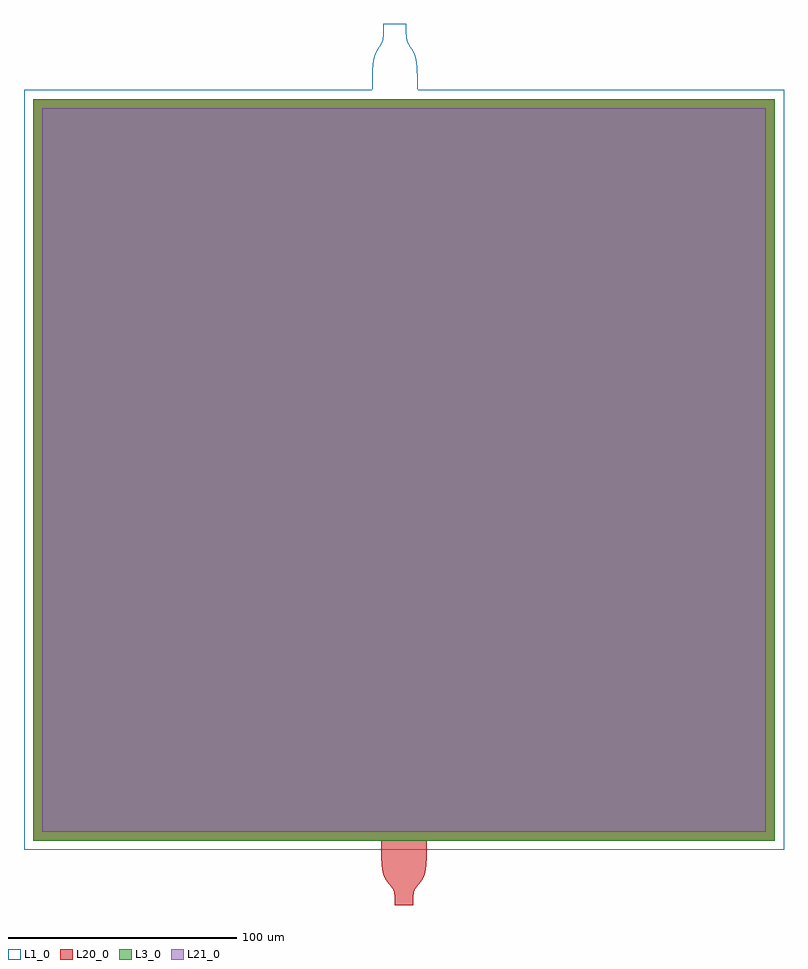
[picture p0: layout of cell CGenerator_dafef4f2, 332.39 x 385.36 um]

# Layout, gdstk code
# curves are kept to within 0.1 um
from math import pi, radians
import gdstk
lib = gdstk.Library(unit=1e-6, precision=1e-09)
def R(c, l, rs):  # rectangles x0, y0, x1, y1
    for r in rs: c.add(gdstk.rectangle(r[:2], r[2:], *l))
def P(c, l, *ps):  # polygons
    for p in ps: c.add(gdstk.Polygon(p, *l))
L1_0 = (1, 0)
L3_0 = (3, 0)
L20_0 = (20, 0)
L21_0 = (21, 0)

compass_fc16659a = lib.new_cell('compass_fc16659a')
R(compass_fc16659a, L1_0, [(-166.194,-166.194,166.194,166.194)])

rectangle_fc16659a = lib.new_cell('rectangle_fc16659a')
rectangle_fc16659a.add(gdstk.Reference(compass_fc16659a, (166.194,166.194)))

optimal_step_32fd2621 = lib.new_cell('optimal_step_32fd2621')
P(optimal_step_32fd2621, L1_0, [(-7.881,5),(-2.921,5.113),(-0.586,5.477),(0.873,6.078),(4.958,8.502),(6.417,9.034),(8.168,9.438),(12.837,9.87),(21.007,10),(21.007,-10),(12.837,-9.87),(8.168,-9.438),(6.417,-9.034),(4.958,-8.502),(0.873,-6.078),(-0.586,-5.477),(-2.921,-5.113),(-7.881,-5)])

optimal_step_rotate_2e3b = lib.new_cell('optimal_step_rotate_2e3b1dfc')
optimal_step_rotate_2e3b.add(gdstk.Reference(optimal_step_32fd2621, (0,0), rotation=3*pi/2))

compass_12dc9234 = lib.new_cell('compass_12dc9234')
R(compass_12dc9234, L20_0, [(-162.194,-162.194,162.194,162.194)])

rectangle_12dc9234 = lib.new_cell('rectangle_12dc9234')
rectangle_12dc9234.add(gdstk.Reference(compass_12dc9234, (162.194,162.194)))

compass_d3dd3e29 = lib.new_cell('compass_d3dd3e29')
R(compass_d3dd3e29, L3_0, [(-162.194,-162.194,162.194,162.194)])

rectangle_d3dd3e29 = lib.new_cell('rectangle_d3dd3e29')
rectangle_d3dd3e29.add(gdstk.Reference(compass_d3dd3e29, (162.194,162.194)))

optimal_step_4769d319 = lib.new_cell('optimal_step_4769d319')
P(optimal_step_4769d319, L20_0, [(-6.406,4),(-2.15,4.113),(-0.164,4.521),(0.971,5.133),(4.659,7.973),(6.361,8.785),(8.064,9.283),(10.333,9.647),(12.887,9.842),(21.682,10),(21.682,-10),(12.887,-9.842),(10.333,-9.647),(8.064,-9.283),(6.361,-8.785),(4.659,-7.973),(0.971,-5.133),(-0.164,-4.521),(-2.15,-4.113),(-6.406,-4)])

optimal_step_rotate_8ca5 = lib.new_cell('optimal_step_rotate_8ca5548f')
optimal_step_rotate_8ca5.add(gdstk.Reference(optimal_step_4769d319, (0,0), rotation=pi/2))

compass_cef6bee1 = lib.new_cell('compass_cef6bee1')
R(compass_cef6bee1, L21_0, [(-158.194,-158.194,158.194,158.194)])

rectangle_cef6bee1 = lib.new_cell('rectangle_cef6bee1')
rectangle_cef6bee1.add(gdstk.Reference(compass_cef6bee1, (158.194,158.194)))

cgenerator_dafef4f2 = lib.new_cell('CGenerator_dafef4f2')
cgenerator_dafef4f2.add(gdstk.Reference(rectangle_fc16659a, (0,0)))
cgenerator_dafef4f2.add(gdstk.Reference(optimal_step_rotate_2e3b, (162.194,353.395)))
cgenerator_dafef4f2.add(gdstk.Reference(rectangle_12dc9234, (4,4)))
cgenerator_dafef4f2.add(gdstk.Reference(rectangle_d3dd3e29, (4,4)))
cgenerator_dafef4f2.add(gdstk.Reference(optimal_step_rotate_8ca5, (166.194,-17.682)))
cgenerator_dafef4f2.add(gdstk.Reference(rectangle_cef6bee1, (8,8)))

lib.write_gds('CGenerator_dafef4f2.gds')
